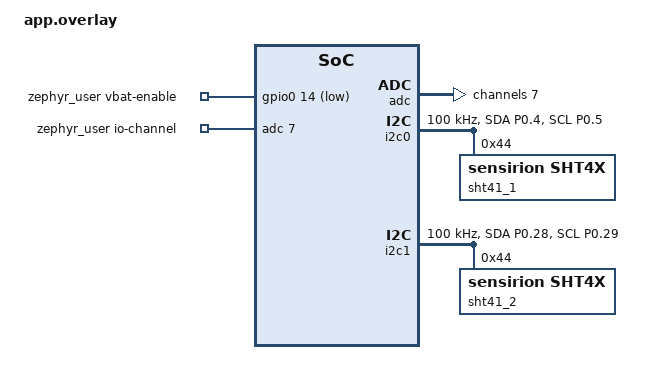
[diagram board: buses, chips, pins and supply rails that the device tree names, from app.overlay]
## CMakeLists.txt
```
cmake_minimum_required(VERSION 3.20.0)
find_package(Zephyr REQUIRED HINTS $ENV{ZEPHYR_BASE})

project(rana006)

target_sources(app PRIVATE src/main.c)
```

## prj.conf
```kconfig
# --- ZARZĄDZANIE ENERGIĄ (USYPIANIE PERYFERIÓW) ---
CONFIG_PM_DEVICE=y

# --- OBSŁUGA MAGISTRALI I CZUJNIKÓW ---
CONFIG_I2C=y
CONFIG_SENSOR=y
CONFIG_SHT4X=y

# --- OBSŁUGA BATERII (ADC, GPIO) ---
CONFIG_ADC=y
CONFIG_GPIO=y

# --- STOS BLUETOOTH (BLE) ---
CONFIG_BT=y
CONFIG_BT_PERIPHERAL=y
CONFIG_BT_DEVICE_NAME="SHT41_Sensor"
CONFIG_BT_DEVICE_APPEARANCE=833

# --- OPTYMALIZACJA PAMIĘCI RAM DLA BLUETOOTH ---
CONFIG_BT_BUF_ACL_RX_SIZE=27
CONFIG_BT_BUF_ACL_TX_SIZE=27
CONFIG_BT_L2CAP_TX_MTU=23
```

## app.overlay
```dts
#include <zephyr/dt-bindings/adc/adc.h>

/* --- KONFIGURACJA PINÓW I2C (pinctrl) --- */
&pinctrl {
    /* MAGISTRALA I2C0 (Czujnik 1) - Piny: SDA = D4, SCL = D5 */
    i2c0_default: i2c0_default {
        group1 {
            psels = <NRF_PSEL(TWIM_SDA, 0, 4)>,
                    <NRF_PSEL(TWIM_SCL, 0, 5)>;
            bias-pull-up;
        };
    };
    i2c0_sleep: i2c0_sleep {
        group1 {
            psels = <NRF_PSEL(TWIM_SDA, 0, 4)>,
                    <NRF_PSEL(TWIM_SCL, 0, 5)>;
            low-power-enable;
        };
    };

    /* MAGISTRALA I2C1 (Czujnik 2) - Piny: SDA = D2, SCL = D3 */
    i2c1_default: i2c1_default {
        group1 {
            psels = <NRF_PSEL(TWIM_SDA, 0, 28)>,
                    <NRF_PSEL(TWIM_SCL, 0, 29)>;
            bias-pull-up;
        };
    };
    i2c1_sleep: i2c1_sleep {
        group1 {
            psels = <NRF_PSEL(TWIM_SDA, 0, 28)>,
                    <NRF_PSEL(TWIM_SCL, 0, 29)>;
            low-power-enable;
        };
    };
};

/* --- ODCZYT BATERII (Sterowanie masą dzielnika) z rana004 --- */
/ {
    zephyr_user: zephyr,user {
        io-channels = <&adc 7>;
        vbat-enable-gpios = <&gpio0 14 GPIO_ACTIVE_LOW>;
    };
};

&adc {
    status = "okay";
    #address-cells = <1>;
    #size-cells = <0>;

    channel@7 {
        reg = <7>;
        zephyr,gain = "ADC_GAIN_1_6";
        zephyr,reference = "ADC_REF_INTERNAL";
        zephyr,acquisition-time = <ADC_ACQ_TIME(ADC_ACQ_TIME_MICROSECONDS, 40)>;
        zephyr,input-positive = <NRF_SAADC_AIN7>;
        zephyr,resolution = <12>;
    };
};

/* --- PRZYPISANIE URZĄDZEŃ DO MAGISTRALI I2C0 --- */
&i2c0 {
    status = "okay";
    clock-frequency = <I2C_BITRATE_STANDARD>;

    pinctrl-0 = <&i2c0_default>;
    pinctrl-1 = <&i2c0_sleep>;
    pinctrl-names = "default", "sleep";

    sht41_1: sht41@44 {
        compatible = "sensirion,sht4x";
        reg = <0x44>;
        repeatability = <2>;
    };
};

/* --- PRZYPISANIE URZĄDZEŃ DO MAGISTRALI I2C1 --- */
&i2c1 {
    status = "okay";
    clock-frequency = <I2C_BITRATE_STANDARD>;

    pinctrl-0 = <&i2c1_default>;
    pinctrl-1 = <&i2c1_sleep>;
    pinctrl-names = "default", "sleep";

    sht41_2: sht41@44 {
        compatible = "sensirion,sht4x";
        reg = <0x44>;
        repeatability = <2>;
    };
};
```

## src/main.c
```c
// wersja z 03.09.2026 - działajaca, wysyła ble NOTIFY , 2xrs41 timestamp co 30s i bateria co 60s
// kolejne wersje zmiana na ble ADV - bardziej energo oszczędna, nie potrzebuje podtrzymania połączenia GATT, wysyła 1 pakiet co 30s
// niestety testy ADV niepowodzenie - android i windows gubi dużo pakietów. 
// ... wracam do wersji Notify

#include <zephyr/kernel.h>
#include <zephyr/device.h>
#include <zephyr/drivers/sensor.h>
#include <zephyr/bluetooth/bluetooth.h>
#include <zephyr/bluetooth/hci.h>
#include <zephyr/bluetooth/conn.h>
#include <zephyr/bluetooth/uuid.h>
#include <zephyr/bluetooth/gatt.h>
#include <zephyr/drivers/adc.h>
#include <zephyr/drivers/gpio.h>

// nRF SDK 3.4.0

// Deklaracja czujników temperatury
const struct device *sht41_1_dev = DEVICE_DT_GET(DT_NODELABEL(sht41_1));
const struct device *sht41_2_dev = DEVICE_DT_GET(DT_NODELABEL(sht41_2));

// Specyfikacja kanału ADC oraz pinu sterującego z Devicetree (rana004)
static const struct adc_dt_spec adc_channel = ADC_DT_SPEC_GET_BY_IDX(DT_PATH(zephyr_user), 0);
static const struct gpio_dt_spec vbat_en = GPIO_DT_SPEC_GET(DT_PATH(zephyr_user), vbat_enable_gpios);

// Timery opóźnione
struct k_work_delayable sensor_work;    // Pomiary co 60 sekund
struct k_work_delayable batt_work;      // Odczyt napięcia co 30 sekund
struct k_work_delayable adv_stop_work;  // Wyłączenie radia po 30 sekundach

struct bt_conn *current_conn = NULL;

// UUID serwisu i charakterystyk
#define BT_UUID_CUSTOM_SERVICE_VAL BT_UUID_128_ENCODE(0x12345678, 0x1234, 0x5678, 0x1234, 0x56789abcdef0)
#define BT_UUID_CUSTOM_CHAR_VAL    BT_UUID_128_ENCODE(0x12345678, 0x1234, 0x5678, 0x1234, 0x56789abcdef1) // Czujniki (8 bajtów)
#define BT_UUID_CUSTOM_BATT_VAL    BT_UUID_128_ENCODE(0x12345678, 0x1234, 0x5678, 0x1234, 0x56789abcdef2) // Bateria (2 bajty)

static struct bt_uuid_128 custom_svc_uuid = BT_UUID_INIT_128(BT_UUID_CUSTOM_SERVICE_VAL);
static struct bt_uuid_128 custom_char_uuid = BT_UUID_INIT_128(BT_UUID_CUSTOM_CHAR_VAL);
static struct bt_uuid_128 custom_batt_uuid = BT_UUID_INIT_128(BT_UUID_CUSTOM_BATT_VAL);

static void ccc_cfg_changed(const struct bt_gatt_attr *attr, uint16_t value) {}

// Definicja serwisu BLE GATT z dwiema charakterystykami NOTIFY
BT_GATT_SERVICE_DEFINE(custom_sensor_svc,
    BT_GATT_PRIMARY_SERVICE(&custom_svc_uuid),
    
    // Charakterystyka nr 1 (Czujniki SHT41) -> attrs[1]
    BT_GATT_CHARACTERISTIC(&custom_char_uuid.uuid, BT_GATT_CHRC_NOTIFY, BT_GATT_PERM_NONE, NULL, NULL, NULL),
    BT_GATT_CCC(ccc_cfg_changed, BT_GATT_PERM_READ | BT_GATT_PERM_WRITE),
    
    // Charakterystyka nr 2 (Napięcie Baterii) -> attrs[4]
    BT_GATT_CHARACTERISTIC(&custom_batt_uuid.uuid, BT_GATT_CHRC_NOTIFY, BT_GATT_PERM_NONE, NULL, NULL, NULL),
    BT_GATT_CCC(ccc_cfg_changed, BT_GATT_PERM_READ | BT_GATT_PERM_WRITE)
);

static const struct bt_data ad[] = {
    BT_DATA_BYTES(BT_DATA_FLAGS, (BT_LE_AD_GENERAL | BT_LE_AD_NO_BREDR)),
    BT_DATA_BYTES(BT_DATA_UUID128_ALL, BT_UUID_CUSTOM_SERVICE_VAL),
};
static const struct bt_data sd[] = {
    BT_DATA(BT_DATA_NAME_COMPLETE, CONFIG_BT_DEVICE_NAME, sizeof(CONFIG_BT_DEVICE_NAME) - 1),
};

static void adv_stop_handler(struct k_work *work) {
    bt_le_adv_stop(); 
}

static void connected(struct bt_conn *conn, uint8_t err) {
    if (err) return;
    current_conn = bt_conn_ref(conn);
    k_work_cancel_delayable(&adv_stop_work);

    struct bt_le_conn_param param = {
        .interval_min = 80, .interval_max = 160, .latency = 49, .timeout = 600
    };
    bt_conn_le_param_update(conn, &param);
}

static void disconnected(struct bt_conn *conn, uint8_t reason) {
    if (current_conn) {
        bt_conn_unref(current_conn);
        current_conn = NULL;
    }
    bt_le_adv_start(BT_LE_ADV_CONN_FAST_1, ad, ARRAY_SIZE(ad), sd, ARRAY_SIZE(sd));
    k_work_reschedule(&adv_stop_work, K_SECONDS(30));
}

BT_CONN_CB_DEFINE(conn_callbacks) = {
    .connected = connected,
    .disconnected = disconnected,
};

// ==============================================================================
// 1. LOGIKA BATERII Z RANA004 - odczyt co 120s
// ==============================================================================
int init_battery_measuring(void) {
    int err;
    if (!adc_is_ready_dt(&adc_channel)) return -ENODEV;
    err = adc_channel_setup_dt(&adc_channel);
    if (err < 0) return err;

    if (!gpio_is_ready_dt(&vbat_en)) return -ENODEV;
    err = gpio_pin_configure_dt(&vbat_en, GPIO_OUTPUT_ACTIVE);
    if (err < 0) return err;

    k_sleep(K_MSEC(1));
    return 0;
}

int read_battery_voltage(void) {
    int err;
    uint16_t buf;
    struct adc_sequence sequence = {
        .options = NULL,
        .channels = BIT(adc_channel.channel_id),
        .buffer = &buf,
        .buffer_size = sizeof(buf),
        .resolution = 12,
    };

    err = adc_read(adc_channel.dev, &sequence);
    if (err) return err;

    int32_t raw_val = buf;
    int32_t pin_mv = (raw_val * 3600) / 4095;
    int32_t bat_mv = pin_mv * 1510 / 510; 
    
    return bat_mv;
}

// Timer obsługujący wysyłkę baterii (co xx sekund)
static void batt_work_handler(struct k_work *work) {
    if (current_conn) {
        // Włączamy dzielnik na czas pomiaru
        gpio_pin_set_dt(&vbat_en, 1);
        k_sleep(K_MSEC(2)); 

        int32_t vbat_mv = read_battery_voltage();
        
        // Wyłączamy dzielnik po pomiarze
        gpio_pin_set_dt(&vbat_en, 0);

        if (vbat_mv >= 0) {
            uint8_t payload[2];
            int16_t out_mv = (int16_t)vbat_mv;
            payload[0] = out_mv & 0xFF;
            payload[1] = (out_mv >> 8) & 0xFF;
            
            // Wysłanie charakterystyki nr 2 (attrs[4])
            bt_gatt_notify(current_conn, &custom_sensor_svc.attrs[4], payload, sizeof(payload));
        }
    }
    k_work_reschedule(&batt_work, K_SECONDS(120)); // kolejny odczyt za 120s
}

// ==============================================================================
// 2. PĘTLA ODCZYTU CZUJNIKÓW SHT41 (odczyt co 30 sekund)
// ==============================================================================
static void sensor_work_handler(struct k_work *work) {
    if (current_conn) {
        struct sensor_value temp, hum;
        uint8_t payload[12];
        
        // CZUJNIK 1
        if (sht41_1_dev && sensor_sample_fetch(sht41_1_dev) == 0) {
            sensor_channel_get(sht41_1_dev, SENSOR_CHAN_AMBIENT_TEMP, &temp);
            sensor_channel_get(sht41_1_dev, SENSOR_CHAN_HUMIDITY, &hum);
            int16_t t_out = (int16_t)(sensor_value_to_double(&temp) * 100.0);
            int16_t h_out = (int16_t)(sensor_value_to_double(&hum) * 100.0);
            payload[0] = t_out & 0xFF; payload[1] = (t_out >> 8) & 0xFF;
            payload[2] = h_out & 0xFF; payload[3] = (h_out >> 8) & 0xFF;
        } else {
            int16_t err_val = -9999;
            payload[0] = err_val & 0xFF; payload[1] = (err_val >> 8) & 0xFF;
            payload[2] = err_val & 0xFF; payload[3] = (err_val >> 8) & 0xFF;
        }

        // CZUJNIK 2
        if (sht41_2_dev && sensor_sample_fetch(sht41_2_dev) == 0) {
            sensor_channel_get(sht41_2_dev, SENSOR_CHAN_AMBIENT_TEMP, &temp);
            sensor_channel_get(sht41_2_dev, SENSOR_CHAN_HUMIDITY, &hum);
            int16_t t_out = (int16_t)(sensor_value_to_double(&temp) * 100.0);
            int16_t h_out = (int16_t)(sensor_value_to_double(&hum) * 100.0);
            payload[4] = t_out & 0xFF; payload[5] = (t_out >> 8) & 0xFF;
            payload[6] = h_out & 0xFF; payload[7] = (h_out >> 8) & 0xFF;
        } else {
            int16_t err_val = -9999;
            payload[4] = err_val & 0xFF; payload[5] = (err_val >> 8) & 0xFF;
            payload[6] = err_val & 0xFF; payload[7] = (err_val >> 8) & 0xFF;
        }

        // --- DODANO: Znak czasu (Timestamp w SEKUNDACH) ---
        // Pobieramy czas od uruchomienia urządzenia i konwertujemy na sekundy
        uint32_t uptime_sec = k_uptime_get_32() / 1000;
        
        // Pakowanie 32-bitowej liczby (Little Endian)
        payload[8] = uptime_sec & 0xFF;
        payload[9] = (uptime_sec >> 8) & 0xFF;
        payload[10] = (uptime_sec >> 16) & 0xFF;
        payload[11] = (uptime_sec >> 24) & 0xFF;
        
        // Wysłanie charakterystyki nr 1 (attrs[1])
        bt_gatt_notify(current_conn, &custom_sensor_svc.attrs[1], payload, sizeof(payload));
    }
    k_work_reschedule(&sensor_work, K_SECONDS(30)); // kolejny odczyt za 30 sekund
}
// ==============================================================================
// 3. MAIN
// ==============================================================================

int main(void) {
    // 1. Inicjalizacja Twojego sprzętu ADC z rana004
    init_battery_measuring();
    // Upewniamy się, że dzielnik jest wyłączony, gdy nie mierzymy
    gpio_pin_set_dt(&vbat_en, 0); 

    // 2. Inicjalizacja BLE i timerów
    bt_enable(NULL);
    k_work_init_delayable(&adv_stop_work, adv_stop_handler);
    k_work_init_delayable(&sensor_work, sensor_work_handler);
    k_work_init_delayable(&batt_work, batt_work_handler);

    // 3. Start systemu
    bt_le_adv_start(BT_LE_ADV_CONN_FAST_1, ad, ARRAY_SIZE(ad), sd, ARRAY_SIZE(sd));
    
    k_work_reschedule(&adv_stop_work, K_SECONDS(30));
    k_work_reschedule(&sensor_work, K_SECONDS(10)); // pierwszy odczyt sht po 10s
    k_work_reschedule(&batt_work, K_SECONDS(20));   // pierwszy odczyt batt po 20s

    return 0;
}
```
